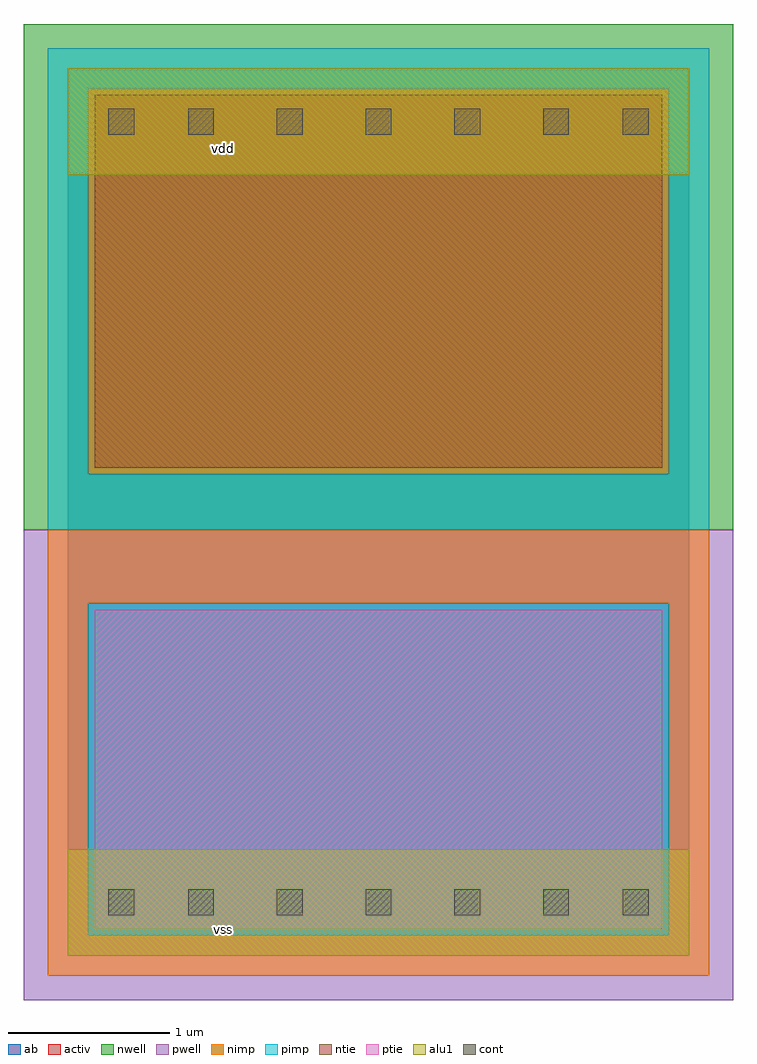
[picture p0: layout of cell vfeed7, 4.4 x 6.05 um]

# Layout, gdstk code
import gdstk
lib = gdstk.Library(unit=1e-6, precision=2.5e-09)
def R(c, l, rs):  # rectangles x0, y0, x1, y1
    for r in rs: c.add(gdstk.rectangle(r[:2], r[2:], *l))
def A(c, l, x, y, w, h, nx, ny, dx, dy):  # array of equal rectangles
    R(c, l, [(x+i*dx, y+j*dy, x+i*dx+w, y+j*dy+h) for i in range(nx) for j in range(ny)])
ntie = (5, 0)
ptie = (6, 0)
cont = (25, 0)
pwell = (41, 0)
nwell = (42, 0)
activ = (43, 0)
pimp = (44, 0)
nimp = (45, 0)
alu1 = (49, 0)
ab = (63, 0)

vfeed7 = lib.new_cell('vfeed7')
R(vfeed7, ntie, [(0.165,3.025,3.685,5.335)])
R(vfeed7, ptie, [(0.165,0.165,3.685,2.145)])
A(vfeed7, cont, 0.745, 0.25, 0.16, 0.16, 5, 2, 0.55, 4.84)
R(vfeed7, cont, [(0.25,0.25,0.41,0.41), (3.44,0.25,3.6,0.41), (0.25,5.09,0.41,5.25), (3.44,5.09,3.6,5.25)])
R(vfeed7, pwell, [(-0.275,-0.275,4.125,2.64)])
R(vfeed7, nwell, [(-0.275,2.64,4.125,5.775)])
R(vfeed7, activ, [(0.165,0.165,3.685,2.145), (0.165,3.025,3.685,5.335)])
R(vfeed7, pimp, [(0.125,0.125,3.725,2.185), (-0.125,2.64,3.975,2.985), (-0.125,2.985,0.125,5.375), (3.725,2.985,3.975,5.375), (-0.125,5.375,3.975,5.625)])
R(vfeed7, nimp, [(-0.125,-0.125,3.975,0.125), (-0.125,0.125,0.125,2.185), (3.725,0.125,3.975,2.185), (-0.125,2.185,3.975,2.64), (0.125,2.985,3.725,5.375)])
R(vfeed7, alu1, [(0,0,3.85,0.66), (0,4.84,3.85,5.5)])
R(vfeed7, ab, [(0,0,3.85,5.5)])
vfeed7.add(gdstk.Label('vss', (0.9625,0.165), layer=49, texttype=0))
vfeed7.add(gdstk.Label('vdd', (0.9625,5.005), layer=49, texttype=0))

lib.write_gds('vfeed7.gds')
